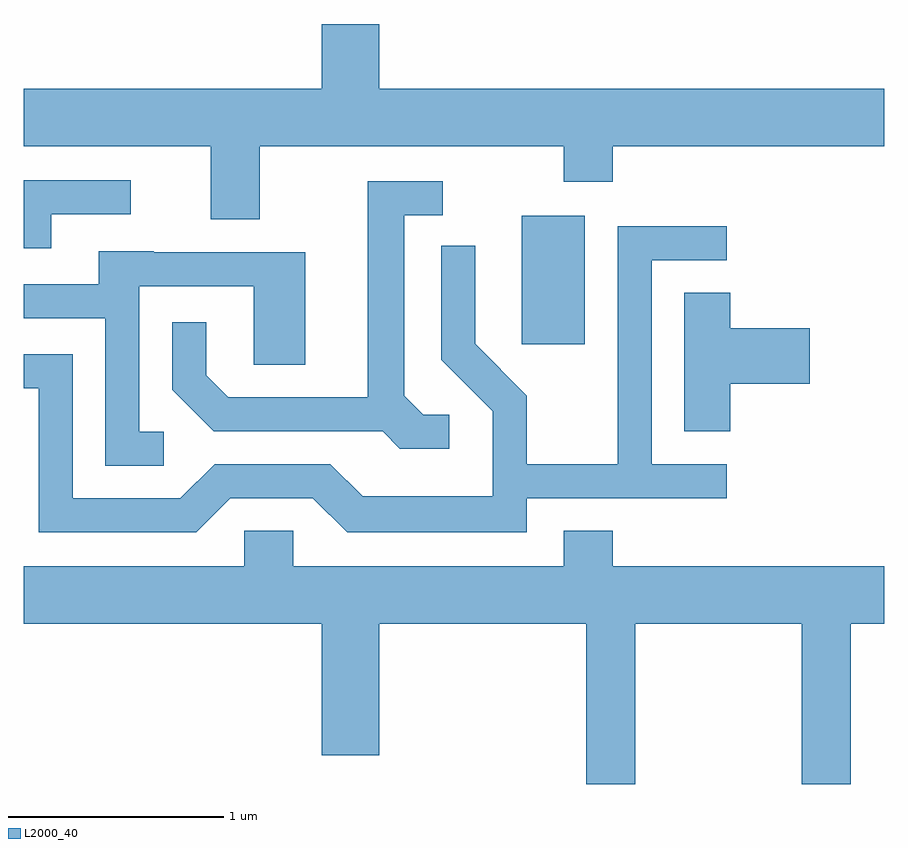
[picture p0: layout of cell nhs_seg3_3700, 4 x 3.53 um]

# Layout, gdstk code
import gdstk
lib = gdstk.Library(unit=1e-6, precision=1e-09)
def R(c, l, rs):  # rectangles x0, y0, x1, y1
    for r in rs: c.add(gdstk.rectangle(r[:2], r[2:], *l))
def P(c, l, *ps):  # polygons
    for p in ps: c.add(gdstk.Polygon(p, *l))
L2000_40 = (2000, 40)

nhs_seg3_3700 = lib.new_cell('nhs_seg3_3700')
R(nhs_seg3_3700, L2000_40, [(295.926,1173.936,296.219,1174.534)])
P(nhs_seg3_3700, L2000_40, [(294.709,1174.856),(296.121,1174.856),(296.121,1174.691),(296.349,1174.691),(296.349,1174.856),(297.611,1174.856),(297.611,1175.124),(295.264,1175.124),(295.264,1175.424),(294.996,1175.424),(294.996,1175.124),(293.611,1175.124),(293.611,1174.856),(294.481,1174.856),(294.481,1174.516),(294.709,1174.516)],
  [(293.739,1174.541),(294.108,1174.541),(294.108,1174.699),(293.611,1174.699),(293.611,1174.381),(293.739,1174.381)],
  [(295.588,1173.609),(295.467,1173.609),(295.379,1173.697),(295.379,1174.536),(295.558,1174.536),(295.558,1174.694),(295.211,1174.694),(295.211,1173.689),(294.562,1173.689),(294.459,1173.792),(294.459,1174.038),(294.301,1174.038),(294.301,1173.724),(294.494,1173.531),(295.279,1173.531),(295.359,1173.451),(295.588,1173.451)],
  [(294.572,1173.221),(294.954,1173.221),(295.114,1173.061),(295.949,1173.061),(295.949,1173.221),(296.878,1173.221),(296.878,1173.379),(296.529,1173.379),(296.529,1174.326),(296.878,1174.326),(296.878,1174.484),(296.371,1174.484),(296.371,1173.379),(295.949,1173.379),(295.949,1173.697),(295.709,1173.937),(295.709,1174.393),(295.551,1174.393),(295.551,1173.864),(295.791,1173.624),(295.791,1173.229),(295.187,1173.229),(295.037,1173.379),(294.499,1173.379),(294.339,1173.219),(293.839,1173.219),(293.839,1173.889),(293.611,1173.889),(293.611,1173.731),(293.681,1173.731),(293.681,1173.061),(294.412,1173.061)],
  [(294.263,1173.529),(294.149,1173.529),(294.149,1174.206),(294.681,1174.206),(294.681,1173.841),(294.919,1173.841),(294.919,1174.364),(294.215,1174.364),(294.215,1174.369),(293.961,1174.369),(293.961,1174.214),(293.611,1174.214),(293.611,1174.056),(293.991,1174.056),(293.991,1173.371),(294.263,1173.371)],
  [(296.894,1173.751),(297.264,1173.751),(297.264,1174.009),(296.894,1174.009),(296.894,1174.174),(296.681,1174.174),(296.681,1173.531),(296.894,1173.531)],
  [(296.454,1172.636),(297.226,1172.636),(297.226,1171.892),(297.454,1171.892),(297.454,1172.636),(297.611,1172.636),(297.611,1172.904),(296.349,1172.904),(296.349,1173.069),(296.121,1173.069),(296.121,1172.904),(294.864,1172.904),(294.864,1173.069),(294.636,1173.069),(294.636,1172.904),(293.611,1172.904),(293.611,1172.636),(294.996,1172.636),(294.996,1172.026),(295.264,1172.026),(295.264,1172.636),(296.226,1172.636),(296.226,1171.892),(296.454,1171.892)])

lib.write_gds('nhs_seg3_3700.gds')
